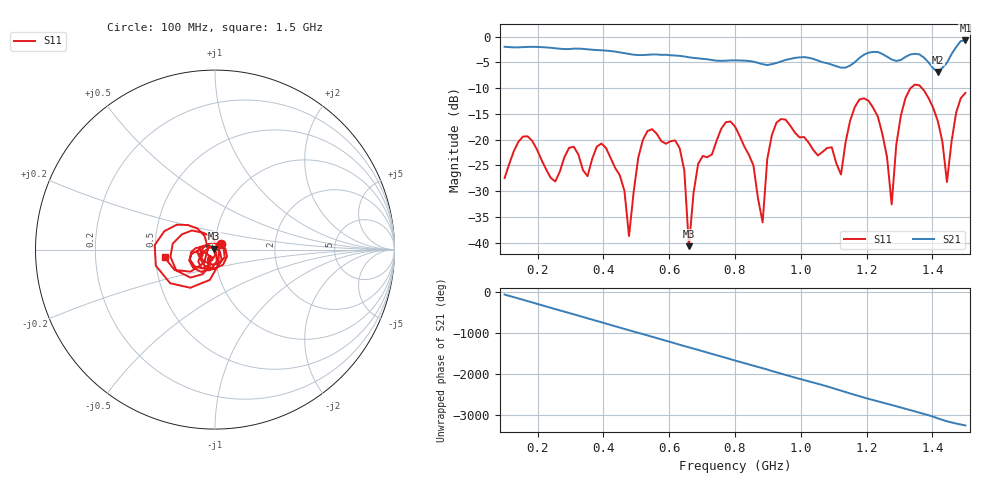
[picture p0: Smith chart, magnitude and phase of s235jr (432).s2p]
! NanoVNA-App
! Date: 2025-09-25 15:07:31
! Start: 100MHz Stop: 1,5GHz Points: 101
! S-Parameter data: F S11 S21 S12 S22
# Hz S RI R 50
!  Frequency  S11_Real  S11_Imag  S21_Real  S21_Imag  S12_Real  S12_Imag  S22_Real  S22_Imag
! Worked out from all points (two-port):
!   101 points, 100 MHz to 1.5 GHz, reference 50 ohm
!   highest |S21| = -0.74 dB at 1.5 GHz (marker M1); lowest = -6.9 dB at 1.416 GHz (marker M2)
!   |S21| within 3 dB of the highest: start of sweep to 632.2 MHz; 1.187 GHz to 1.258 GHz (71.02 MHz wide, 5.81 % of centre) (the widest 2 of 4)
!   lowest |S11| = -40.7 dB at 660 MHz (marker M3), VSWR 1.02, Z = 49.3 + j0.577 ohm
!   |S11| at or under -10 dB: start of sweep to 1.334 GHz; 1.368 GHz to end of sweep
!   S12 and S22 are empty: the file has one direction only
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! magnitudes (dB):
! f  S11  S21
! 100 MHz  -27.5  -2.0
! 156 MHz  -19.4  -2.0
! 338 MHz  -25.9  -2.4
! 408 MHz  -21.6  -2.7
! 478 MHz  -38.7  -3.4
! 520 MHz  -20.1  -3.6
! 576 MHz  -20.3  -3.5
! 632 MHz  -21.7  -3.7
! 660 MHz  -40.7  -4.0
! 688 MHz  -24.7  -4.2
! 800 MHz  -17.5  -4.6
! 884 MHz  -36.1  -5.4
! 926 MHz  -16.7  -5.1
! 1.038 GHz  -22.0  -4.3
! 1.122 GHz  -26.8  -6.0
! 1.206 GHz  -12.5  -3.1
! 1.276 GHz  -32.6  -4.4
! 1.304 GHz  -15.3  -4.5
! 1.332 GHz  -10.1  -3.5
! 1.416 GHz  -16.4  -6.9
! 1.444 GHz  -28.2  -5.1
! 1.5 GHz  -10.9  -0.7
